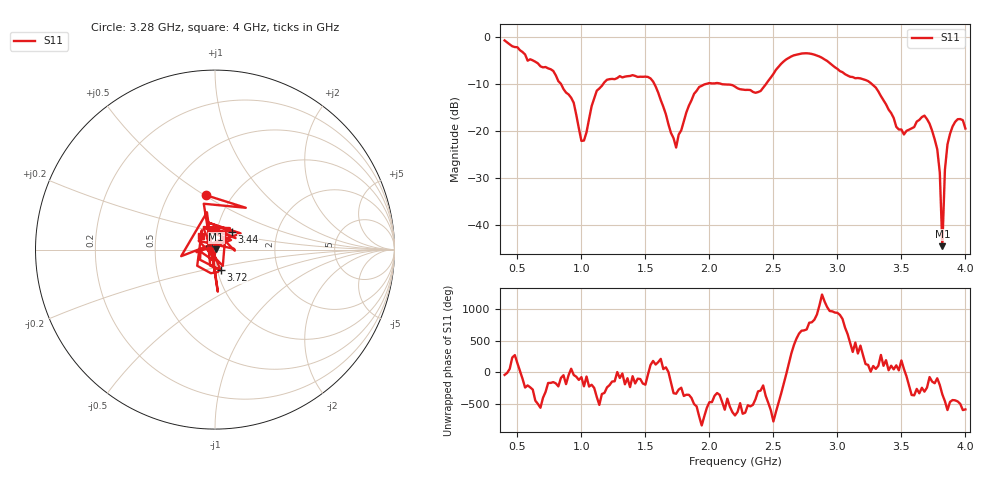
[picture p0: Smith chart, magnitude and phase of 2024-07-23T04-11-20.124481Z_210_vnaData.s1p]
!Created with skrf (http://scikit-rf.org).
# Hz S RI R 50.0
!freq ReS11 ImS11
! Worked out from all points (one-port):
!   181 points, 400 MHz to 4 GHz, reference 50 ohm
!   lowest |S11| = -44.4 dB at 3.82 GHz (marker M1), VSWR 1.01, Z = 50.6 + j0.108 ohm
!   |S11| at or under -10 dB: 1.57 GHz to 1.976 GHz (406 MHz wide, 22.9 % of centre); 2.093 GHz to 2.443 GHz (350.2 MHz wide, 15.4 % of centre); 3.268 GHz to end of sweep (the widest 3 of 4)
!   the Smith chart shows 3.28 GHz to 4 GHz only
!   S11 on the Smith chart (normalised r, x): 3.28 GHz: 0.76, +0.51; 3.44 GHz: 1.18, +0.24; 3.72 GHz: 1.04, -0.24; 4 GHz: 0.85, +0.13
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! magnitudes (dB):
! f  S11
! 400 MHz  -0.8
! 780 MHz  -7.2
! 860 MHz  -11.1
! 940 MHz  -14.0
! 1 GHz  -22.1
! 1.02 GHz  -22.0
! 1.12 GHz  -11.4
! 1.3 GHz  -8.3
! 1.54 GHz  -8.8
! 1.74 GHz  -23.5
! 1.76 GHz  -20.8
! 1.92 GHz  -10.7
! 2.2 GHz  -10.6
! 2.4 GHz  -11.5
! 2.66 GHz  -3.9
! 3.1 GHz  -8.5
! 3.28 GHz  -10.3
! 3.44 GHz  -17.2
! 3.56 GHz  -19.7
! 3.68 GHz  -16.7
! 3.72 GHz  -18.4
! 3.78 GHz  -23.9
! 3.8 GHz  -28.8
! 3.82 GHz  -44.4
! 3.84 GHz  -28.2
! 3.86 GHz  -22.8
! 3.94 GHz  -17.5
! 4 GHz  -19.5
